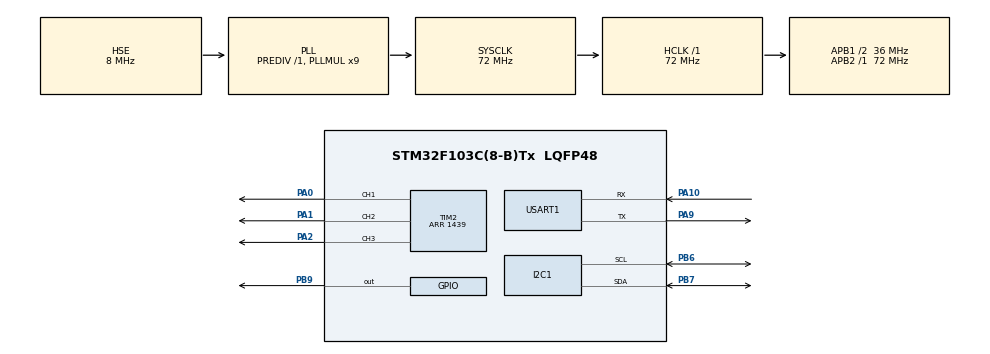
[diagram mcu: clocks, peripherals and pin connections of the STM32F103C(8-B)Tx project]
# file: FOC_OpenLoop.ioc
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Mcu.Family=STM32F1
Mcu.Name=STM32F103C(8-B)Tx
Mcu.Package=LQFP48
NVIC.PriorityGroup=NVIC_PRIORITYGROUP_4
NVIC.TIM4_IRQn=true\:0\:0\:false\:false\:true\:true\:true\:true
NVIC.USART1_IRQn=true\:0\:0\:false\:false\:true\:true\:true\:true
PA0-WKUP.Signal=S_TIM2_CH1_ETR
PA1.Signal=S_TIM2_CH2
PA10.Mode=Asynchronous
PA10.Signal=USART1_RX
PA13.Mode=Serial_Wire
PA13.Signal=SYS_JTMS-SWDIO
PA14.Mode=Serial_Wire
PA14.Signal=SYS_JTCK-SWCLK
PA2.Signal=S_TIM2_CH3
PA9.Mode=Asynchronous
PA9.Signal=USART1_TX
PB6.Mode=I2C
PB6.Signal=I2C1_SCL
PB7.Mode=I2C
PB7.Signal=I2C1_SDA
PB9.Signal=GPIO_Output
PD0-OSC_IN.Mode=HSE-External-Oscillator
PD0-OSC_IN.Signal=RCC_OSC_IN
PD1-OSC_OUT.Mode=HSE-External-Oscillator
PD1-OSC_OUT.Signal=RCC_OSC_OUT
ProjectManager.HeapSize=0x200
ProjectManager.StackSize=0x400
ProjectManager.TargetToolchain=MDK-ARM V5.32
RCC.AHBFreq_Value=72000000
RCC.APB1CLKDivider=RCC_HCLK_DIV2
RCC.APB1Freq_Value=36000000
RCC.APB1TimFreq_Value=72000000
RCC.APB2Freq_Value=72000000
RCC.APB2TimFreq_Value=72000000
RCC.HCLKFreq_Value=72000000
RCC.PLLMUL=RCC_PLL_MUL9
RCC.PLLSourceVirtual=RCC_PLLSOURCE_HSE
RCC.SYSCLKFreq_VALUE=72000000
RCC.SYSCLKSource=RCC_SYSCLKSOURCE_PLLCLK
RCC.USBFreq_Value=72000000
SH.S_TIM2_CH1_ETR.0=TIM2_CH1,PWM Generation1 CH1
SH.S_TIM2_CH2.0=TIM2_CH2,PWM Generation2 CH2
SH.S_TIM2_CH3.0=TIM2_CH3,PWM Generation3 CH3
TIM2.AutoReloadPreload=TIM_AUTORELOAD_PRELOAD_ENABLE
TIM2.Channel-PWM\ Generation1\ CH1=TIM_CHANNEL_1
TIM2.Channel-PWM\ Generation2\ CH2=TIM_CHANNEL_2
TIM2.Channel-PWM\ Generation3\ CH3=TIM_CHANNEL_3
TIM2.CounterMode=TIM_COUNTERMODE_CENTERALIGNED1
TIM2.Period=1439
TIM4.AutoReloadPreload=TIM_AUTORELOAD_PRELOAD_ENABLE
TIM4.Period=999
TIM4.Prescaler=71
USART1.VirtualMode=VM_ASYNC
VP_TIM4_VS_ClockSourceINT.Mode=Internal
board=custom

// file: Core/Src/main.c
/* USER CODE BEGIN Header */
/**
  ******************************************************************************
  * @file           : main.c
  * @brief          : Main program body
  ******************************************************************************
  * @attention
  *
  * Copyright (c) 2026 STMicroelectronics.
  * All rights reserved.
  *
  * This software is licensed under terms that can be found in the LICENSE file
  * in the root directory of this software component.
  * If no LICENSE file comes with this software, it is provided AS-IS.
  *
  ******************************************************************************
  */
/* USER CODE END Header */
#include "main.h"

/* USER CODE BEGIN Includes */
#include "bldc_openloop.h"
#include <stdio.h>
#include "as5600.h"
#include <stdlib.h>
#include <string.h>
#include <math.h>
// 提供 strlen 函数
/* USER CODE END Includes */

I2C_HandleTypeDef hi2c1;

TIM_HandleTypeDef htim2;
TIM_HandleTypeDef htim4;

UART_HandleTypeDef huart1;

/* USER CODE BEGIN PV */
volatile float target_velocity = 3.0f;
volatile float current_speed = 0.0f;
char cmd_buf[20];
uint8_t cmd_idx = 0;
uint8_t rx_temp;
volatile uint8_t motor_running = 1;

#define SPEED_FILTER_ALPHA 0.02f   //一阶低通滤波系数 0.05~0.2
/* USER CODE END PV */

void SystemClock_Config(void);
static void MX_GPIO_Init(void);
static void MX_TIM2_Init(void);
static void MX_TIM4_Init(void);
static void MX_USART1_UART_Init(void);
static void MX_I2C1_Init(void);

/* USER CODE BEGIN 0 */
int fputc(int ch, FILE *f)
{
    HAL_UART_Transmit(&huart1, (uint8_t *)&ch, 1, 100);
    return ch;
}
/* USER CODE END 0 */

int main(void)
{

  /* MCU Configuration--------------------------------------------------------*/

  /* Reset of all peripherals, Initializes the Flash interface and the Systick. */
  HAL_Init();

  /* Configure the system clock */
  SystemClock_Config();

  /* Initialize all configured peripherals */
  MX_GPIO_Init();
  MX_TIM2_Init();
  MX_TIM4_Init();
  MX_USART1_UART_Init();
  MX_I2C1_Init();
  /* USER CODE BEGIN 2 */
OpenLoop_Init();
HAL_GPIO_WritePin(GPIOB, GPIO_PIN_9, GPIO_PIN_SET);

AS5600_ResetState(&hi2c1);

//==== 删除这里的 int g_sensor_direction / float g_zero_electric_angle！不要在这里赋值！====
//CalibrateMagnetZero(&hi2c1);

motor_running = 0;  //上电默认关闭闭环，等待R命令启动

HAL_TIM_Base_Start_IT(&htim4);

__HAL_UART_CLEAR_FLAG(&huart1, UART_FLAG_ORE);
__HAL_UART_CLEAR_FLAG(&huart1, UART_FLAG_NE);
HAL_UART_Receive_IT(&huart1, &rx_temp, 1);

Speed_Loop_ResetIntegral();

  /* USER CODE END 2 */

  /* Infinite loop */
  while (1)
  {

    /* USER CODE BEGIN 3 */

//老打印速度
//if(HAL_GetTick() - last_angle_time >= 50)   // 每 50ms 计算一次速度
//{
//    float angle_now = AS5600_ReadAngle(&hi2c1);
//
//    // 计算角度差，处理 0/360 度过零跳变
//    float delta = angle_now - prev_angle;
//    if(delta > 180.0f)
//        delta -= 360.0f;
//    else if(delta < -180.0f)
//        delta += 360.0f;
//
//    float dt = (float)(HAL_GetTick() - last_angle_time) / 1000.0f;  // 时间间隔(秒)
//    current_speed = (delta / dt) * (3.14159f / 180.0f);       // 度/秒 转换为 rad/s
//
//    prev_angle = angle_now;
//    last_angle_time = HAL_GetTick();
//
//    // 每 200ms 打印一次 (VOFA+ FireWater 格式)
//    static uint32_t last_print = 0;
//    if(HAL_GetTick() - last_print >= 100)
//    {
//       // printf("%.3f,%.3f\n", angle_now, current_speed);
//			  printf("%.3f,\n",-current_speed);
//        last_print = HAL_GetTick();
//    }
//}
//打印速度
    // 每100ms打印一次角度和速度（用于VOFA+观察）
//Test_VirtualOpenLoop(1.0f, 8.0f);

static uint32_t last_enc_tick = 0;
    if(HAL_GetTick() - last_enc_tick >= 2U)
    {
        AS5600_Task(&hi2c1);
        last_enc_tick = HAL_GetTick();
    }

    static uint32_t last_print = 0;
    if (HAL_GetTick() - last_print >= 20)
    {
        float mech_angle = AS5600_GetContinuousAngle_NoI2C();

        // Sine of the mechanical angle -> clean sine wave (1 cycle per revolution)
        float sin_mech = sinf(mech_angle);

        // Mechanical angle in degrees, wrapped to 0..360 (sawtooth)
        float ang_deg = mech_angle * 180.0f / 3.14159265f;
        float ang_mod = fmodf(ang_deg, 360.0f);
        if (ang_mod < 0.0f) ang_mod += 360.0f;

        // Speed in mechanical rad/s (same unit as the R/T commands)
        printf("%.3f,%.3f,%.3f,%.3f\n", sin_mech, ang_mod, current_speed, target_velocity);
        last_print = HAL_GetTick();
    }

  }
  /* USER CODE END 3 */
}

void SystemClock_Config(void)
{
  RCC_OscInitTypeDef RCC_OscInitStruct = {0};
  RCC_ClkInitTypeDef RCC_ClkInitStruct = {0};

  /** Initializes the RCC Oscillators according to the specified parameters
  * in the RCC_OscInitTypeDef structure.
  */
  RCC_OscInitStruct.OscillatorType = RCC_OSCILLATORTYPE_HSE;
  RCC_OscInitStruct.HSEState = RCC_HSE_ON;
  RCC_OscInitStruct.HSEPredivValue = RCC_HSE_PREDIV_DIV1;
  RCC_OscInitStruct.HSIState = RCC_HSI_ON;
  RCC_OscInitStruct.PLL.PLLState = RCC_PLL_ON;
  RCC_OscInitStruct.PLL.PLLSource = RCC_PLLSOURCE_HSE;
  RCC_OscInitStruct.PLL.PLLMUL = RCC_PLL_MUL9;
  if (HAL_RCC_OscConfig(&RCC_OscInitStruct) != HAL_OK)
  {
    Error_Handler();
  }

  /** Initializes the CPU, AHB and APB buses clocks
  */
  RCC_ClkInitStruct.ClockType = RCC_CLOCKTYPE_HCLK|RCC_CLOCKTYPE_SYSCLK
                              |RCC_CLOCKTYPE_PCLK1|RCC_CLOCKTYPE_PCLK2;
  RCC_ClkInitStruct.SYSCLKSource = RCC_SYSCLKSOURCE_PLLCLK;
  RCC_ClkInitStruct.AHBCLKDivider = RCC_SYSCLK_DIV1;
  RCC_ClkInitStruct.APB1CLKDivider = RCC_HCLK_DIV2;
  RCC_ClkInitStruct.APB2CLKDivider = RCC_HCLK_DIV1;

  if (HAL_RCC_ClockConfig(&RCC_ClkInitStruct, FLASH_LATENCY_2) != HAL_OK)
  {
    Error_Handler();
  }
}

static void MX_I2C1_Init(void)
{

  hi2c1.Instance = I2C1;
  hi2c1.Init.ClockSpeed = 100000;
  hi2c1.Init.DutyCycle = I2C_DUTYCYCLE_2;
  hi2c1.Init.OwnAddress1 = 0;
  hi2c1.Init.AddressingMode = I2C_ADDRESSINGMODE_7BIT;
  hi2c1.Init.DualAddressMode = I2C_DUALADDRESS_DISABLE;
  hi2c1.Init.OwnAddress2 = 0;
  hi2c1.Init.GeneralCallMode = I2C_GENERALCALL_DISABLE;
  hi2c1.Init.NoStretchMode = I2C_NOSTRETCH_DISABLE;
  if (HAL_I2C_Init(&hi2c1) != HAL_OK)
  {
    Error_Handler();
  }

}

static void MX_TIM2_Init(void)
{

  TIM_MasterConfigTypeDef sMasterConfig = {0};
  TIM_OC_InitTypeDef sConfigOC = {0};

  htim2.Instance = TIM2;
  htim2.Init.Prescaler = 0;
  htim2.Init.CounterMode = TIM_COUNTERMODE_CENTERALIGNED1;
  htim2.Init.Period = 1439;
  htim2.Init.ClockDivision = TIM_CLOCKDIVISION_DIV1;
  htim2.Init.AutoReloadPreload = TIM_AUTORELOAD_PRELOAD_ENABLE;
  if (HAL_TIM_PWM_Init(&htim2) != HAL_OK)
  {
    Error_Handler();
  }
  sMasterConfig.MasterOutputTrigger = TIM_TRGO_RESET;
  sMasterConfig.MasterSlaveMode = TIM_MASTERSLAVEMODE_DISABLE;
  if (HAL_TIMEx_MasterConfigSynchronization(&htim2, &sMasterConfig) != HAL_OK)
  {
    Error_Handler();
  }
  sConfigOC.OCMode = TIM_OCMODE_PWM1;
  sConfigOC.Pulse = 0;
  sConfigOC.OCPolarity = TIM_OCPOLARITY_HIGH;
  sConfigOC.OCFastMode = TIM_OCFAST_DISABLE;
  if (HAL_TIM_PWM_ConfigChannel(&htim2, &sConfigOC, TIM_CHANNEL_1) != HAL_OK)
  {
    Error_Handler();
  }
  if (HAL_TIM_PWM_ConfigChannel(&htim2, &sConfigOC, TIM_CHANNEL_2) != HAL_OK)
  {
    Error_Handler();
  }
  if (HAL_TIM_PWM_ConfigChannel(&htim2, &sConfigOC, TIM_CHANNEL_3) != HAL_OK)
  {
    Error_Handler();
  }
  HAL_TIM_MspPostInit(&htim2);

}

static void MX_TIM4_Init(void)
{

  TIM_ClockConfigTypeDef sClockSourceConfig = {0};
  TIM_MasterConfigTypeDef sMasterConfig = {0};

  htim4.Instance = TIM4;
  htim4.Init.Prescaler = 71;
  htim4.Init.CounterMode = TIM_COUNTERMODE_UP;
  htim4.Init.Period = 999;
  htim4.Init.ClockDivision = TIM_CLOCKDIVISION_DIV1;
  htim4.Init.AutoReloadPreload = TIM_AUTORELOAD_PRELOAD_ENABLE;
  if (HAL_TIM_Base_Init(&htim4) != HAL_OK)
  {
    Error_Handler();
  }
  sClockSourceConfig.ClockSource = TIM_CLOCKSOURCE_INTERNAL;
  if (HAL_TIM_ConfigClockSource(&htim4, &sClockSourceConfig) != HAL_OK)
  {
    Error_Handler();
  }
  sMasterConfig.MasterOutputTrigger = TIM_TRGO_RESET;
  sMasterConfig.MasterSlaveMode = TIM_MASTERSLAVEMODE_DISABLE;
  if (HAL_TIMEx_MasterConfigSynchronization(&htim4, &sMasterConfig) != HAL_OK)
  {
    Error_Handler();
  }

}

static void MX_USART1_UART_Init(void)
{

  huart1.Instance = USART1;
  huart1.Init.BaudRate = 115200;
  huart1.Init.WordLength = UART_WORDLENGTH_8B;
  huart1.Init.StopBits = UART_STOPBITS_1;
  huart1.Init.Parity = UART_PARITY_NONE;
  huart1.Init.Mode = UART_MODE_TX_RX;
  huart1.Init.HwFlowCtl = UART_HWCONTROL_NONE;
  huart1.Init.OverSampling = UART_OVERSAMPLING_16;
  if (HAL_UART_Init(&huart1) != HAL_OK)
  {
    Error_Handler();
  }

}

static void MX_GPIO_Init(void)
{
  GPIO_InitTypeDef GPIO_InitStruct = {0};

  /* GPIO Ports Clock Enable */
  __HAL_RCC_GPIOD_CLK_ENABLE();
  __HAL_RCC_GPIOA_CLK_ENABLE();
  __HAL_RCC_GPIOB_CLK_ENABLE();

  /*Configure GPIO pin Output Level */
  HAL_GPIO_WritePin(GPIOB, GPIO_PIN_9, GPIO_PIN_RESET);

  /*Configure GPIO pin : PB9 */
  GPIO_InitStruct.Pin = GPIO_PIN_9;
  GPIO_InitStruct.Mode = GPIO_MODE_OUTPUT_PP;
  GPIO_InitStruct.Pull = GPIO_NOPULL;
  GPIO_InitStruct.Speed = GPIO_SPEED_FREQ_LOW;
  HAL_GPIO_Init(GPIOB, &GPIO_InitStruct);

}

/* USER CODE BEGIN 4 */

//开环速度更新
//void HAL_TIM_PeriodElapsedCallback(TIM_HandleTypeDef *htim)
//{
//    if(htim->Instance == TIM4)
//    {
//        OpenLoop_Run(target_velocity);  // 使用全局变量
//    }
//}

//速度环更新
//void HAL_TIM_PeriodElapsedCallback(TIM_HandleTypeDef *htim)
//{
//    if (htim->Instance == TIM4)
//    {
//        static float prev_ang_isr = 0.0f;
//        float mech_ang_now = AS5600_GetContinuousAngle_NoI2C();
//        const float dt = 0.001f;

//        float speed_raw = (mech_ang_now - prev_ang_isr) / dt;
//        prev_ang_isr = mech_ang_now;

//        //一阶低通滤波
//        static float speed_filt = 0.0f;
//        speed_filt = speed_filt * (1.0f - SPEED_FILTER_ALPHA) + SPEED_FILTER_ALPHA * speed_raw;
//        current_speed = speed_filt;

//        if(motor_running == 1)
//        {
//            Speed_Loop_Run(target_velocity, current_speed, mech_ang_now);
//        }
//    }
//}

void HAL_TIM_PeriodElapsedCallback(TIM_HandleTypeDef *htim)
{
    if (htim->Instance == TIM4)
    {
        static uint16_t loop_cnt = 0;
        static float prev_ang_isr = 0.0f;
        static float speed_filt = 0.0f;
        float mech_ang_now = AS5600_GetContinuousAngle_NoI2C();

        if(++loop_cnt >= 2)
        {
            loop_cnt = 0;
            const float dt = 0.002f;
            // Mechanical speed, flipped into the same frame as commutation
            float speed_mech = (mech_ang_now - prev_ang_isr) / dt * g_sensor_direction;
            prev_ang_isr = mech_ang_now;
            speed_filt = speed_filt * (1.0f - SPEED_FILTER_ALPHA) + SPEED_FILTER_ALPHA * speed_mech;
        }
        // current_speed：机械rad/s
        current_speed = speed_filt;

        if(motor_running == 1)
        {
            // target_velocity 本身就是你T命令设置的【机械rad/s】，直接丢进去，不乘方向！
            Speed_Loop_Run(target_velocity, current_speed, mech_ang_now);
        }
    }
}

void HAL_UART_RxCpltCallback(UART_HandleTypeDef *huart)
{
    if(huart->Instance == USART1)
    {
        HAL_UART_Receive_IT(&huart1, &rx_temp, 1);
        if(rx_temp == '\r' || rx_temp == '\n')
        {
            if(cmd_idx == 0) return;
            cmd_buf[cmd_idx] = '\0';

            if(cmd_buf[0] == 'H' || cmd_buf[0] == 'h')
            {
                const char *reply = "Hello! STM32 ready.\r\n";
                HAL_UART_Transmit(&huart1, (uint8_t*)reply, strlen(reply), 100);
            }
            else if(cmd_buf[0] == 'T' || cmd_buf[0] == 't')
            {
                float new_speed = atof(&cmd_buf[1]);
                if(new_speed >= 0.0f && new_speed <= 30.0f)
                {
                    target_velocity = new_speed;
                    Speed_Loop_ResetIntegral();
                    char ack[40];
                    sprintf(ack, "Speed set to %.2f rad/s\r\n", new_speed);
                    HAL_UART_Transmit(&huart1, (uint8_t*)ack, strlen(ack), 100);
                }
                else
                {
                    const char *err = "Invalid speed! (0 ~ 30 rad/s)\r\n";
                    HAL_UART_Transmit(&huart1, (uint8_t*)err, strlen(err), 100);
                }
            }
            else if(cmd_buf[0] == 'S' || cmd_buf[0] == 's')
            {
                motor_running = 0;
                OpenLoop_SetZeroPwm();
                HAL_GPIO_WritePin(GPIOB, GPIO_PIN_9, GPIO_PIN_RESET);
                Speed_Loop_ResetIntegral();
                const char *reply = "STOP: motor disabled\r\n";
                HAL_UART_Transmit(&huart1, (uint8_t*)reply, strlen(reply),100);
            }
            else if(cmd_buf[0] == 'R' || cmd_buf[0] == 'r')
            {
                HAL_GPIO_WritePin(GPIOB, GPIO_PIN_9, GPIO_PIN_SET);
                motor_running = 1;
                float new_spd = atof(&cmd_buf[1]);
                if(new_spd >= 0 && new_spd <= 30.0f)
                {
                    target_velocity = new_spd;
                }
                else
                {
                    target_velocity = 5.0f;
                }
                Speed_Loop_ResetIntegral();
                AS5600_ResetState(&hi2c1); //重启刷新编码器状态
                char ack[40];
                sprintf(ack,"RUN speed:%.2f rad/s\r\n",target_velocity);
                HAL_UART_Transmit(&huart1,(uint8_t*)ack,strlen(ack),100);
            }
            else if(cmd_buf[0] != '\0')
            {
                const char *unknown = "Unknown command.\r\n";
                HAL_UART_Transmit(&huart1, (uint8_t*)unknown, strlen(unknown), 100);
            }
            cmd_idx = 0;
        }
        else if(cmd_idx < sizeof(cmd_buf) - 1)
        {
            cmd_buf[cmd_idx++] = (char)rx_temp;
        }
    }
}

//void HAL_UART_RxCpltCallback(UART_HandleTypeDef *huart)
//{
//    if(huart->Instance == USART1)
//    {
//        HAL_UART_Receive_IT(&huart1, &rx_temp, 1);
//        HAL_UART_Transmit(&huart1, &rx_temp, 1, 10);
//    }
//}

/* USER CODE END 4 */

void Error_Handler(void)
{
  __disable_irq();
  while (1)
  {
  }
}
